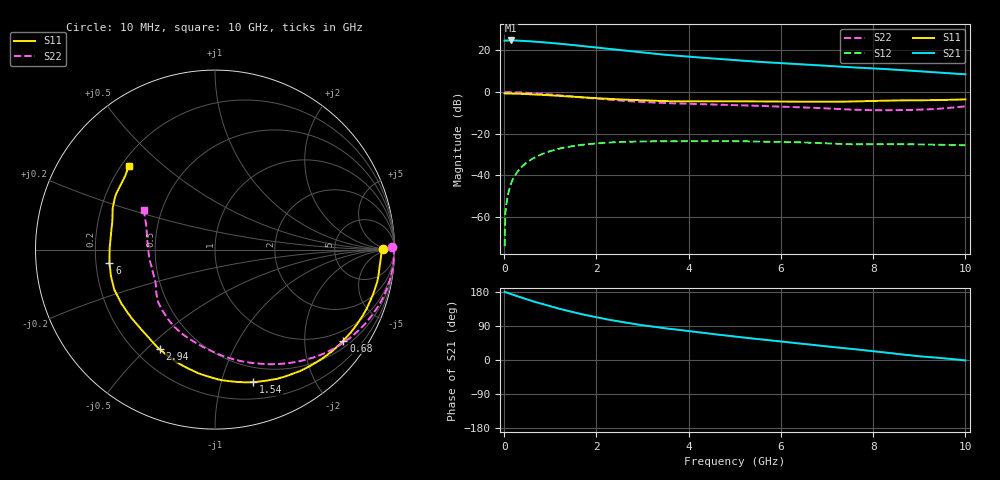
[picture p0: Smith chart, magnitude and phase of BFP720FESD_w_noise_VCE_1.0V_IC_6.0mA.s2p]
! Infineon Technologies  Discrete & RF Semiconductors
! BFP720FESD
! VCE =  1.0 V,  IC =  6.0 mA
! Common Emitter S-Parameters:  Jan 2016
# GHz  S  MA  R  50
!  f  S11  S21  S12  S22
! GHz  MAG  ANG  MAG  ANG  MAG  ANG  MAG  ANG
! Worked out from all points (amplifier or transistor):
!   233 points, 10 MHz to 10 GHz, reference 50 ohm
!   highest |S21| = 24.8 dB at 150 MHz (marker M1)
!   |S21| within 3 dB of that: start of sweep to 1.82 GHz
!   unconditionally stable (mu >= 1): 7.059 GHz to end of sweep
!   at 200 MHz: K = 0.02, MSG = 33.1 dB, |S12| = -41.4 dB
!   at 1.74 GHz: K = 0.21, MSG = 23.6 dB, |S12| = -25.2 dB
!   at 10 GHz: K = 1.49, MAG = 12.9 dB, |S12| = -25.5 dB
!   lowest NFmin = 0.55 dB at 450 MHz
!   S11 on the Smith chart (normalised r, x): 10 MHz: 30, +2; 680 MHz: 0.68, -3.00; 1.54 GHz: 0.35, -1.27; 2.94 GHz: 0.30, -0.55; 6 GHz: 0.26, -0.06; 10 GHz: 0.23, +0.39
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0.01  0.9354 0.2  17.2 179.8  0.0002 -97.7  0.9885 0.7
0.02  0.9273 -1.0  17.21 179.4  0.001 93.0  0.9964 -0.7
0.03  0.9266 -1.6  17.21 178.9  0.0014 92.3  0.9967 -1.1
0.15  0.9224 -8.1  17.38 174.0  0.0064 85.5  0.9956 -5.8
0.36  0.9098 -19.0  17.09 165.3  0.0152 78.2  0.9794 -13.9
0.68  0.8769 -35.3  16.26 152.9  0.0276 68.2  0.9361 -25.6
0.9  0.8509 -45.8  15.55 145.1  0.0352 61.7  0.8991 -33.2
1.1  0.8258 -55.1  14.89 138.4  0.0413 56.0  0.8609 -39.9
1.3  0.7995 -64.1  14.18 132.0  0.0466 50.6  0.822 -46.4
1.54  0.7675 -74.0  13.31 124.9  0.0517 44.7  0.7746 -53.7
1.68  0.7506 -79.5  12.82 121.0  0.0543 41.5  0.749 -57.7
1.92  0.7245 -88.2  11.98 114.7  0.0578 36.6  0.7091 -64.3
2.24  0.6918 -98.6  10.96 107.1  0.0613 30.7  0.662 -72.3
2.58  0.6617 -109.2  9.995 99.7  0.064 25.1  0.6193 -80.5
2.94  0.6352 -119.0  9.062 92.8  0.0653 20.1  0.583 -88.1
3.4  0.6103 -129.1  8.064 85.3  0.0659 15.6  0.5518 -95.4
4.1  0.6005 -142.7  6.956 74.8  0.0667 9.9  0.5208 -104.8
5.1  0.602 -159.8  5.749 60.5  0.066 2.6  0.4831 -118.7
6  0.5925 -173.0  4.975 48.7  0.0638 -2.5  0.45 -130.2
6.8  0.5853 174.5  4.403 38.3  0.0599 -5.7  0.4158 -141.1
8.4  0.6281 152.8  3.499 17.8  0.0563 -4.3  0.368 -170.2
10  0.6698 135.7  2.681 -1.2  0.0531 -5.3  0.4551 150.8
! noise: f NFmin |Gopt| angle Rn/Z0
0.45  0.55  0.51  3  0.14
2.4  0.67  0.32  30  0.15
5.5  0.83  0.37  108  0.1
10  1.36  0.31  -161  0.09
